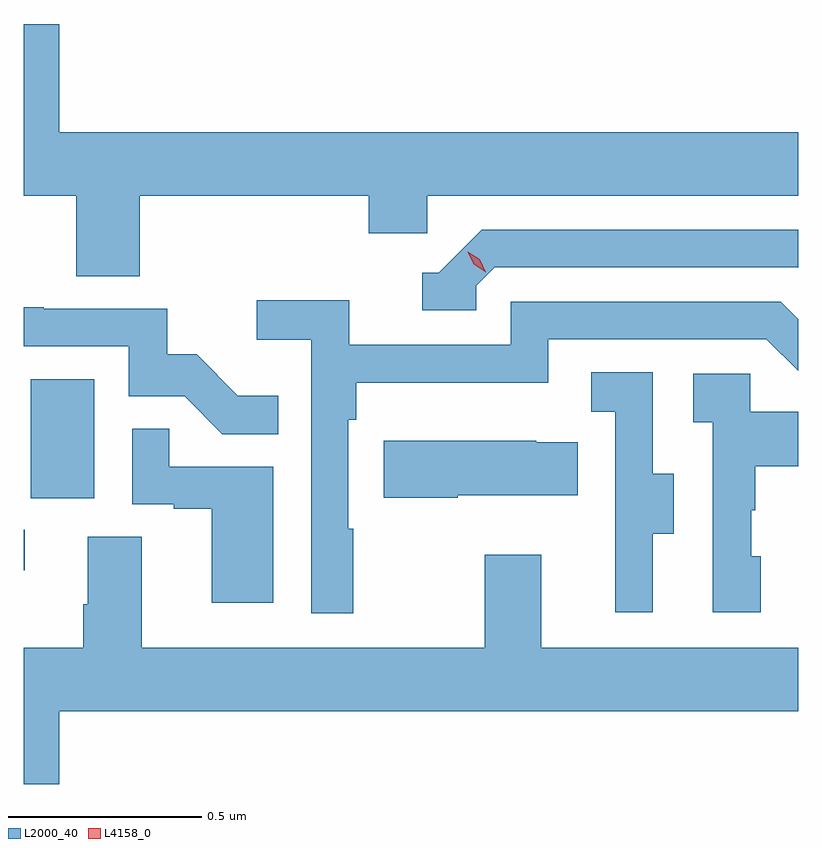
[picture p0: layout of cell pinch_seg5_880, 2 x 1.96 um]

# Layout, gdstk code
import gdstk
lib = gdstk.Library(unit=1e-6, precision=1e-09)
def R(c, l, rs):  # rectangles x0, y0, x1, y1
    for r in rs: c.add(gdstk.rectangle(r[:2], r[2:], *l))
def P(c, l, *ps):  # polygons
    for p in ps: c.add(gdstk.Polygon(p, *l))
L2000_40 = (2000, 40)
L4158_0 = (4158, 0)

pinch_seg5_880 = lib.new_cell('pinch_seg5_880')
R(pinch_seg5_880, L2000_40, [(836.408,886.428,836.41,886.533), (836.426,886.614,836.59,886.921)])
P(pinch_seg5_880, L2000_40, [(836.5,887.839),(836.408,887.839),(836.408,887.396),(836.543,887.396),(836.543,887.188),(836.708,887.188),(836.708,887.396),(837.299,887.396),(837.299,887.298),(837.45,887.298),(837.45,887.396),(838.408,887.396),(838.408,887.56),(836.5,887.56)],
  [(837.576,887.163),(837.624,887.211),(838.407,887.211),(838.408,887.21),(838.408,887.307),(837.591,887.307),(837.48,887.196),(837.437,887.196),(837.437,887.1),(837.576,887.1)],
  [(837.259,886.535),(837.246,886.535),(837.246,886.817),(837.266,886.817),(837.266,886.913),(837.762,886.913),(837.762,887.025),(838.326,887.025),(838.408,886.943),(838.408,887.076),(838.363,887.121),(837.666,887.121),(837.666,887.01),(837.248,887.01),(837.248,887.126),(837.009,887.126),(837.009,887.024),(837.15,887.024),(837.15,886.317),(837.259,886.317)],
  [(837.065,886.879),(836.961,886.879),(836.854,886.986),(836.778,886.986),(836.778,887.103),(836.459,887.103),(836.459,887.108),(836.408,887.108),(836.408,887.007),(836.679,887.007),(836.679,886.878),(836.823,886.878),(836.921,886.78),(837.065,886.78)],
  [(838.033,886.522),(838.087,886.522),(838.087,886.677),(838.032,886.677),(838.032,886.94),(837.873,886.94),(837.873,886.837),(837.936,886.837),(837.936,886.533),(837.935,886.533),(837.935,886.32),(838.033,886.32)],
  [(838.312,886.464),(838.287,886.464),(838.287,886.583),(838.297,886.583),(838.297,886.697),(838.408,886.697),(838.408,886.837),(838.284,886.837),(838.284,886.935),(838.137,886.935),(838.137,886.811),(838.188,886.811),(838.188,886.32),(838.312,886.32)],
  [(837.052,886.695),(836.783,886.695),(836.783,886.793),(836.688,886.793),(836.688,886.599),(836.795,886.599),(836.795,886.587),(836.894,886.587),(836.894,886.344),(837.052,886.344)],
  [(837.529,886.622),(837.839,886.622),(837.839,886.759),(837.731,886.759),(837.731,886.762),(837.338,886.762),(837.338,886.615),(837.529,886.615)],
  [(836.5,886.064),(838.408,886.064),(838.408,886.228),(837.745,886.228),(837.745,886.468),(837.598,886.468),(837.598,886.228),(836.713,886.228),(836.713,886.514),(836.573,886.514),(836.573,886.34),(836.561,886.34),(836.561,886.228),(836.408,886.228),(836.408,885.876),(836.5,885.876)])
P(pinch_seg5_880, L4158_0, [(837.601,887.198),(837.57,887.218),(837.555,887.251),(837.555,887.251),(837.555,887.251),(837.586,887.231),(837.601,887.198),(837.601,887.198)])

lib.write_gds('pinch_seg5_880.gds')
